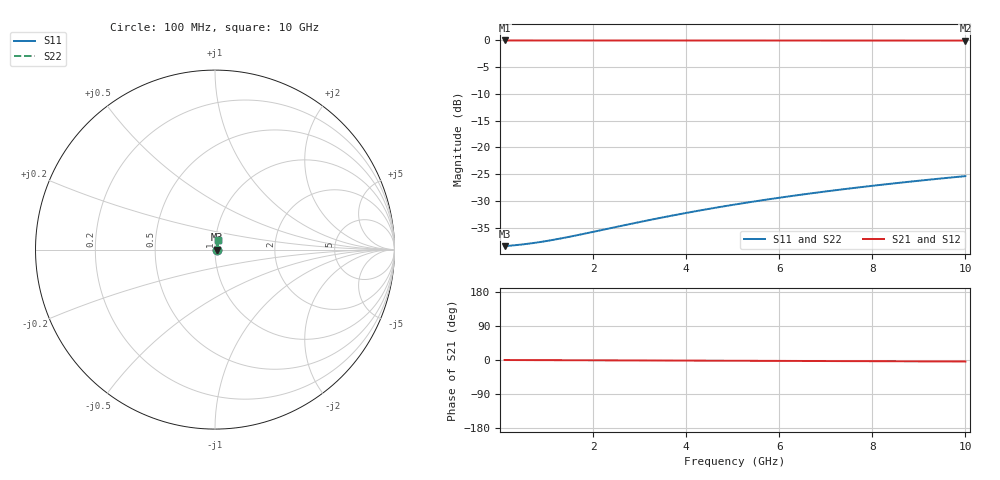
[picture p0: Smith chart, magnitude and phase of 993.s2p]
# Hz S RI R 50.00
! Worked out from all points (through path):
!   100 points, 100 MHz to 10 GHz, reference 50 ohm
!   highest |S21| = -0.11 dB at 100 MHz (marker M1); lowest = -0.1 dB at 10 GHz (marker M2)
!   lowest |S11| = -38.4 dB at 100 MHz (marker M3), VSWR 1.02, Z = 51.2 + j0.053 ohm
!   |S11| at or under -10 dB: start of sweep to end of sweep
!   |S22| runs from -38.4 to -25.3 dB; largest |S21 - S12| = 0
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1e8  0.0121 0.000518  0.9879 -0.000681  0.9879 -0.000681  0.0121 0.000518
3e8  0.0122 0.00155  0.9878 -0.00204  0.9878 -0.00204  0.0122 0.00155
5e8  0.0123 0.00259  0.9877 -0.0034  0.9877 -0.0034  0.0123 0.00259
7e8  0.0124 0.00362  0.9876 -0.00477  0.9876 -0.00477  0.0124 0.00362
9e8  0.0124 0.00466  0.9876 -0.00613  0.9876 -0.00613  0.0124 0.00466
1.1e9  0.0125 0.00569  0.9875 -0.00749  0.9875 -0.00749  0.0125 0.00569
1.3e9  0.0126 0.00672  0.9874 -0.00885  0.9874 -0.00885  0.0126 0.00672
1.8e9  0.0127 0.00931  0.9873 -0.0123  0.9873 -0.0123  0.0127 0.00931
2.8e9  0.013 0.0145  0.987 -0.0191  0.987 -0.0191  0.013 0.0145
3.4e9  0.0132 0.0176  0.9868 -0.0231  0.9868 -0.0231  0.0132 0.0176
3.8e9  0.0133 0.0196  0.9867 -0.0259  0.9867 -0.0259  0.0133 0.0196
4.2e9  0.0134 0.0217  0.9865 -0.0286  0.9865 -0.0286  0.0134 0.0217
4.6e9  0.0136 0.0238  0.9864 -0.0313  0.9864 -0.0313  0.0136 0.0238
5.1e9  0.0138 0.0263  0.9862 -0.0347  0.9862 -0.0347  0.0138 0.0263
5.5e9  0.014 0.0284  0.986 -0.0374  0.986 -0.0374  0.014 0.0284
5.9e9  0.0142 0.0305  0.9858 -0.0401  0.9858 -0.0401  0.0142 0.0305
6.3e9  0.0144 0.0325  0.9856 -0.0428  0.9856 -0.0428  0.0144 0.0325
6.7e9  0.0146 0.0346  0.9854 -0.0455  0.9854 -0.0455  0.0146 0.0346
7.5e9  0.015 0.0387  0.9849 -0.051  0.9849 -0.051  0.015 0.0387
8.4e9  0.0156 0.0433  0.9843 -0.0571  0.9843 -0.0571  0.0156 0.0433
9.2e9  0.0161 0.0474  0.9838 -0.0625  0.9838 -0.0625  0.0161 0.0474
1e10  0.0167 0.0515  0.9832 -0.0679  0.9832 -0.0679  0.0167 0.0515
